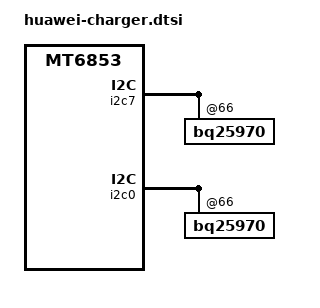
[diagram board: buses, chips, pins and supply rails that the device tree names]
#include "../huawei_charger/mt6853_jlh_huawei_charger.dtsi"
&i2c7 {
	bq25970@65 {
		status = "disabled";
	};

	bq25970@66 {
		i2c_recovery_addr = <0x65>;
		status = "ok";
	};
};
&i2c0 {
	bq25970@65 {
		status = "disabled";
	};

	bq25970@66 {
		i2c_recovery_addr = <0x65>;
		status = "ok";
	};
};
